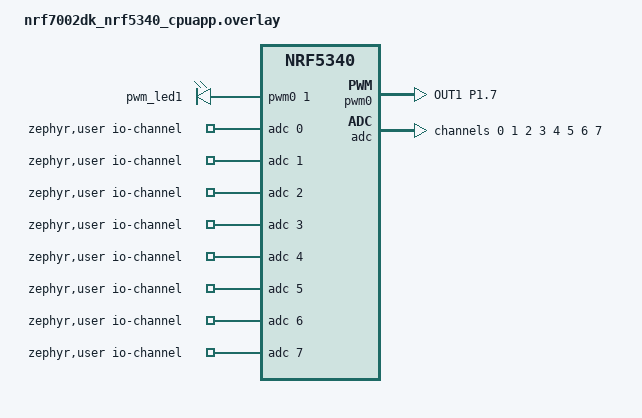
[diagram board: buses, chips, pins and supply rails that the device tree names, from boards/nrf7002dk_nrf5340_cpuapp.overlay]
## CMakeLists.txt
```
#
# Copyright (c) 2021 Nordic Semiconductor ASA
#
# SPDX-License-Identifier: LicenseRef-Nordic-5-Clause
#

cmake_minimum_required(VERSION 3.20.0)

# Set Kconfig root files that will be processed as a first Kconfig for used child images.
set(mcuboot_KCONFIG_ROOT "\\\${ZEPHYR_CONNECTEDHOMEIP_MODULE_DIR}/config/nrfconnect/chip-module/Kconfig.mcuboot.root")
set(multiprotocol_rpmsg_KCONFIG_ROOT "\\\${ZEPHYR_CONNECTEDHOMEIP_MODULE_DIR}/config/nrfconnect/chip-module/Kconfig.multiprotocol_rpmsg.root")
set(hci_rpmsg_KCONFIG_ROOT "\\\${ZEPHYR_CONNECTEDHOMEIP_MODULE_DIR}/config/nrfconnect/chip-module/Kconfig.hci_rpmsg.root")

# For prj.conf the CONF_FILE is empty. In other case extract the exact file name from the path string.
if(CONF_FILE)
    get_filename_component(CONFIG_FILE_NAME ${CONF_FILE} NAME)
endif()

if(NOT "${CONFIG_FILE_NAME}" STREQUAL "prj_no_dfu.conf")
    set(PM_STATIC_YML_FILE ${CMAKE_CURRENT_SOURCE_DIR}/configuration/${BOARD}/pm_static_dfu.yml)
endif()

find_package(Zephyr HINTS $ENV{ZEPHYR_BASE})

project(matter-light-bulb)

set(COMMON_ROOT ${ZEPHYR_NRF_MODULE_DIR}/samples/matter/common)
set(NLIO_ROOT ${ZEPHYR_CONNECTEDHOMEIP_MODULE_DIR}/third_party/nlio/repo)
include(${ZEPHYR_CONNECTEDHOMEIP_MODULE_DIR}/config/nrfconnect/app/enable-gnu-std.cmake)
include(${ZEPHYR_CONNECTEDHOMEIP_MODULE_DIR}/src/app/chip_data_model.cmake)

# NORDIC SDK APP START
target_include_directories(app PRIVATE
    src
    ${COMMON_ROOT}/src
    ${NLIO_ROOT}/include
    ${ZEPHYR_CONNECTEDHOMEIP_MODULE_DIR}/zzz_generated/app-common
)

target_sources(app PRIVATE
    src/app_task.cpp
    src/main.cpp
    src/adc_app.cpp
    src/zcl_callbacks.cpp
    src/zap-generated/IMClusterCommandHandler.cpp
    src/zap-generated/callback-stub.cpp
    ${COMMON_ROOT}/src/led_widget.cpp
    ${COMMON_ROOT}/src/pwm_device.cpp
)

if(CONFIG_CHIP_OTA_REQUESTOR OR CONFIG_MCUMGR_TRANSPORT_BT)
    target_sources(app PRIVATE ${COMMON_ROOT}/src/ota_util.cpp)
endif()

if(CONFIG_MCUMGR_TRANSPORT_BT)
    zephyr_library_link_libraries(MCUBOOT_BOOTUTIL)
    target_sources(app PRIVATE ${COMMON_ROOT}/src/dfu_over_smp.cpp)
endif()

chip_configure_data_model(app
    INCLUDE_SERVER
    BYPASS_IDL
    GEN_DIR src/zap-generated
    ZAP_FILE ${CMAKE_CURRENT_SOURCE_DIR}/src/light_bulb.zap
)
# NORDIC SDK APP END
```

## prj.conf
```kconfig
#
# Copyright (c) 2022 Nordic Semiconductor ASA
#
# SPDX-License-Identifier: LicenseRef-Nordic-5-Clause
#

# Enable CHIP
CONFIG_CHIP=y
CONFIG_CHIP_PROJECT_CONFIG="src/chip_project_config.h"
# 32773 == 0x8005 (example lighting-app)
CONFIG_CHIP_DEVICE_PRODUCT_ID=32773
CONFIG_STD_CPP14=y

# Enable CHIP pairing automatically on application start.
CONFIG_CHIP_ENABLE_PAIRING_AUTOSTART=y

# Add support for LEDs and buttons on Nordic development kits
CONFIG_DK_LIBRARY=y
CONFIG_PWM=y

# Bluetooth Low Energy configuration
CONFIG_BT_DEVICE_NAME="MatterLight"

# Other settings
CONFIG_THREAD_NAME=y
CONFIG_MPU_STACK_GUARD=y
CONFIG_RESET_ON_FATAL_ERROR=n
CONFIG_CHIP_LIB_SHELL=y

# Reduce application size
CONFIG_USE_SEGGER_RTT=n

# Enable Factory Data feature
CONFIG_CHIP_FACTORY_DATA=y
CONFIG_CHIP_FACTORY_DATA_BUILD=y

CONFIG_ADC=y
```

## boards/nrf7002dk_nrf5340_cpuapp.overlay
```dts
/*
 * Copyright (c) 2022 Nordic Semiconductor ASA
 *
 * SPDX-License-Identifier: LicenseRef-Nordic-5-Clause
 */

#include <zephyr/dt-bindings/ipc_service/static_vrings.h>

/ {
	chosen {
		nordic,pm-ext-flash = &mx25r64;
	};

	/*
	* By default, PWM module is only configured for led0 (LED1 on the board).
	* The light bulb app, however, uses LED2 to show the state of the lighting,
	* including its brightness level.
	*/
	aliases {
		pwm-led1 = &pwm_led1;
	};

	pwmleds {
		compatible = "pwm-leds";
		pwm_led1: pwm_led_1 {
			pwms = < &pwm0 1 PWM_MSEC(20) PWM_POLARITY_NORMAL>;
		};
	};
};

/* Set IPC thread priority to the highest value to not collide with other threads. */
&ipc0 {
    zephyr,priority = <0 PRIO_COOP>;
};

&pwm0 {
	pinctrl-0 = <&pwm0_default_alt>;
	pinctrl-1 = <&pwm0_sleep_alt>;
	pinctrl-names = "default", "sleep";
};

&pinctrl {
	pwm0_default_alt: pwm0_default_alt {
		group1 {
			psels = <NRF_PSEL(PWM_OUT1, 1, 7)>;
			nordic,invert;
		};
	};

	pwm0_sleep_alt: pwm0_sleep_alt {
		group1 {
			psels = <NRF_PSEL(PWM_OUT1, 1, 7)>;
			low-power-enable;
		};
	};

};
/*
USER OVERLAY
*/

 / {
	zephyr,user {
		io-channels = <&adc 0>, <&adc 1>, <&adc 2>, <&adc 3>, <&adc 4>, <&adc 5>, <&adc 6>, <&adc 7>;
	};
};

&adc {
	#address-cells = <1>;
	#size-cells = <0>;

	channel@0 {
		reg = <0>;
		zephyr,gain = "ADC_GAIN_1_6";
		zephyr,reference = "ADC_REF_INTERNAL";
		zephyr,acquisition-time = <ADC_ACQ_TIME_DEFAULT>;
		zephyr,input-positive = <NRF_SAADC_AIN0>;
		zephyr,resolution = <12>;
	};

	channel@1 {
		reg = <1>;
		zephyr,gain = "ADC_GAIN_1_6";
		zephyr,reference = "ADC_REF_INTERNAL";
		zephyr,acquisition-time = <ADC_ACQ_TIME_DEFAULT>;
		zephyr,input-positive = <NRF_SAADC_AIN1>;
		zephyr,resolution = <12>;
		zephyr,oversampling = <8>;
	};

    channel@2 {
		reg = <2>;
		zephyr,gain = "ADC_GAIN_1_6";
		zephyr,reference = "ADC_REF_INTERNAL";
		zephyr,acquisition-time = <ADC_ACQ_TIME_DEFAULT>;
		zephyr,input-positive = <NRF_SAADC_AIN2>;
		zephyr,resolution = <12>;
		zephyr,oversampling = <8>;
	};

    channel@3 {
		reg = <3>;
		zephyr,gain = "ADC_GAIN_1_6";
		zephyr,reference = "ADC_REF_INTERNAL";
		zephyr,acquisition-time = <ADC_ACQ_TIME_DEFAULT>;
		zephyr,input-positive = <NRF_SAADC_AIN3>;
		zephyr,resolution = <12>;
		zephyr,oversampling = <8>;
	};

    channel@4 {
		reg = <4>;
		zephyr,gain = "ADC_GAIN_1_6";
		zephyr,reference = "ADC_REF_INTERNAL";
		zephyr,acquisition-time = <ADC_ACQ_TIME_DEFAULT>;
		zephyr,input-positive = <NRF_SAADC_AIN4>;
		zephyr,resolution = <12>;
		zephyr,oversampling = <8>;
	};

    channel@5 {
		reg = <5>;
		zephyr,gain = "ADC_GAIN_1_6";
		zephyr,reference = "ADC_REF_INTERNAL";
		zephyr,acquisition-time = <ADC_ACQ_TIME_DEFAULT>;
		zephyr,input-positive = <NRF_SAADC_AIN5>;
		zephyr,resolution = <12>;
		zephyr,oversampling = <8>;
	};

    channel@6 {
		reg = <6>;
		zephyr,gain = "ADC_GAIN_1_6";
		zephyr,reference = "ADC_REF_INTERNAL";
		zephyr,acquisition-time = <ADC_ACQ_TIME_DEFAULT>;
		zephyr,input-positive = <NRF_SAADC_AIN6>;
		zephyr,resolution = <12>;
		zephyr,oversampling = <8>;
	};

    channel@7 {
		reg = <7>;
		zephyr,gain = "ADC_GAIN_1_6";
		zephyr,reference = "ADC_REF_INTERNAL";
		zephyr,acquisition-time = <ADC_ACQ_TIME_DEFAULT>;
		zephyr,input-positive = <NRF_SAADC_VDD>;
		zephyr,resolution = <12>;
		zephyr,oversampling = <8>;
	};
};

/* */
```

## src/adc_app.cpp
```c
/*

 */

#include "adc_app.h"
#include <zephyr/kernel.h>
#include <zephyr/logging/log.h>
#include <lib/support/CodeUtils.h>

/*
CUSTOM OVERLAY POINTER
*/
#if !DT_NODE_EXISTS(DT_PATH(zephyr_user)) || \
	!DT_NODE_HAS_PROP(DT_PATH(zephyr_user), io_channels)
#error "No suitable devicetree overlay specified"
#endif

#define DT_SPEC_AND_COMMA(node_id, prop, idx) \
	ADC_DT_SPEC_GET_BY_IDX(node_id, idx),

uint16_t buf;
/* Data of ADC io-channels specified in devicetree. */
static const struct adc_dt_spec adc_channels[] = {
	DT_FOREACH_PROP_ELEM(DT_PATH(zephyr_user), io_channels,
			     DT_SPEC_AND_COMMA)};

struct adc_sequence sequence = {
		.buffer = &buf,
		/* buffer size in bytes, not number of samples */
		.buffer_size = sizeof(buf),
	};

void AdcApp::AdcTest()
{
	int err;
	uint32_t count = 0;

	/* Configure channels individually prior to sampling. */
	for (size_t i = 0U; i < ARRAY_SIZE(adc_channels); i++) {
		if (!adc_is_ready_dt(&adc_channels[i])) {
			printk("ADC controller device %s not ready\n", adc_channels[i].dev->name);
		}

		err = adc_channel_setup_dt(&adc_channels[i]);
		if (err < 0) {
			printk("Could not setup channel #%d (%d)\n", i, err);
		}
	}

	printk("ADC reading[%u]:\n", count++);

		for (size_t i = 0U; i < ARRAY_SIZE(adc_channels); i++) {
			int32_t val_mv;
			printk("- %s, channel %d: ", adc_channels[i].dev->name, adc_channels[i].channel_id);

			(void)adc_sequence_init_dt(&adc_channels[i], &sequence);

			err = adc_read(adc_channels[i].dev, &sequence);
			if (err < 0) {
				printk("Could not read (%d)\n", err);
			}

			val_mv = (int32_t)buf;
			printk("%"PRId32, val_mv);

			err = adc_raw_to_millivolts_dt(&adc_channels[i], &val_mv);
			/* conversion to mV may not be supported, skip if not */
			if (err < 0) {
				printk(" (value in mV not available)\n");
			} else {
				printk(" = %"PRId32" mV\n", val_mv);
			}
		}

		k_sleep(K_MSEC(1000));
}

// Initialize sensor
void AdcApp::SoilSensorInit(uint8_t channel)
{
	int err;

	printk("Initialize ADC Soil sensor\n");
	if (!adc_is_ready_dt(&adc_channels[channel])) {
		printk("ADC controller device %s not ready\n", adc_channels[channel].dev->name);
	}

	err = adc_channel_setup_dt(&adc_channels[channel]);
	if (err < 0) {
		printk("Could not setup channel #%d (%d)\n", channel, err);
	}

	(void)adc_sequence_init_dt(&adc_channels[channel], &sequence);

	k_sleep(K_MSEC(100));
}


// Read sensor data
uint8_t AdcApp::ReadSoilSensor(uint8_t channel)
{
	uint8_t sensor_val;
	int32_t val_mv;
	float temp_val_mv;
	int err;

	printk("Read Soil Sensor Value\n");
	// Get ADC Data channel 0
	err = adc_read(adc_channels[channel].dev, &sequence);
	if (err < 0) {
		printk("Could not read (%d)\n", err);
	}

	val_mv = (int32_t)buf;
	err = adc_raw_to_millivolts_dt(&adc_channels[channel], &val_mv);
			/* conversion to mV may not be supported, skip if not */
	if (err < 0) {
		printk(" (value in mV not available)\n");
	} else {
		printk(" ADC Val = %"PRId32" mV\n", val_mv);
	}

	// convert 
	temp_val_mv = (float(val_mv)/1807) ;
	sensor_val = uint8_t (temp_val_mv * 100);
	printk("float temp_val (%f)\n", temp_val_mv);
	printk("sensor_val (%d)\n", sensor_val);

	k_sleep(K_MSEC(100));

	return sensor_val;
}

/* EOF*/
```

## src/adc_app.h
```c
/*
 * Copyright (c) 2021 Nordic Semiconductor ASA
 *
 * SPDX-License-Identifier: LicenseRef-Nordic-5-Clause
 */

#pragma once
/*
USER INCLUDE
*/
#include <inttypes.h>
#include <stddef.h>
#include <stdint.h>

#include <zephyr/device.h>
#include <zephyr/devicetree.h>
#include <zephyr/drivers/adc.h>
#include <zephyr/kernel.h>
#include <zephyr/sys/printk.h>
#include <zephyr/sys/util.h>
#include <cstdint>


class AdcApp {
public:

	void AdcTest();
	void SoilSensorInit(uint8_t channel);
	uint8_t ReadSoilSensor(uint8_t channel);
};
```

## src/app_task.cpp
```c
/*
 * Copyright (c) 2021 Nordic Semiconductor ASA
 *
 * SPDX-License-Identifier: LicenseRef-Nordic-5-Clause
 */

#include "app_task.h"

#include "app_config.h"
#include "fabric_table_delegate.h"
#include "led_util.h"
#include "pwm_device.h"

#include <platform/CHIPDeviceLayer.h>

#include <app-common/zap-generated/attributes/Accessors.h>
#include <app/DeferredAttributePersistenceProvider.h>
#include <app/clusters/identify-server/identify-server.h>
#include <app/server/OnboardingCodesUtil.h>
#include <app/server/Server.h>
#include <credentials/DeviceAttestationCredsProvider.h>
#include <credentials/examples/DeviceAttestationCredsExample.h>
#include <lib/support/CHIPMem.h>
#include <lib/support/CodeUtils.h>
#include <system/SystemError.h>

#ifdef CONFIG_CHIP_WIFI
#include <app/clusters/network-commissioning/network-commissioning.h>
#include <platform/nrfconnect/wifi/NrfWiFiDriver.h>
#endif

#ifdef CONFIG_CHIP_OTA_REQUESTOR
#include "ota_util.h"
#endif

#include <dk_buttons_and_leds.h>
#include <zephyr/kernel.h>
#include <zephyr/logging/log.h>

/*
USER DEFINE
*/
#include "adc_app.h"
/*
*/
LOG_MODULE_DECLARE(app, CONFIG_CHIP_APP_LOG_LEVEL);

using namespace ::chip;
using namespace ::chip::app;
using namespace ::chip::Credentials;
using namespace ::chip::DeviceLayer;

namespace
{
constexpr uint32_t kFactoryResetTriggerTimeout = 3000;
constexpr uint32_t kFactoryResetCancelWindowTimeout = 3000;
constexpr size_t kAppEventQueueSize = 10;
constexpr EndpointId kLightEndpointId = 1;
/*USER CUSTOM*/
#define SENSING_STACK_SIZE 1024
#define SENSING_PRIORITY 5
K_THREAD_STACK_DEFINE(my_stack_area, SENSING_STACK_SIZE);
struct k_thread my_thread_data;
uint8_t SoilSensorVal;
/**/
constexpr uint8_t kDefaultMinLevel = 0;
constexpr uint8_t kDefaultMaxLevel = 254;
#if NUMBER_OF_BUTTONS == 2
constexpr uint32_t kAdvertisingTriggerTimeout = 3000;
#endif
constexpr uint16_t kTriggerEffectTimeout = 5000;
constexpr uint16_t kTriggerEffectFinishTimeout = 1000;

K_MSGQ_DEFINE(sAppEventQueue, sizeof(AppEvent), kAppEventQueueSize, alignof(AppEvent));
k_timer sFunctionTimer;
k_timer sTriggerEffectTimer;

Identify sIdentify = { kLightEndpointId, AppTask::IdentifyStartHandler, AppTask::IdentifyStopHandler,
		       EMBER_ZCL_IDENTIFY_IDENTIFY_TYPE_VISIBLE_LED, AppTask::TriggerIdentifyEffectHandler };

LEDWidget sStatusLED;
LEDWidget sIdentifyLED;
#if NUMBER_OF_LEDS == 4
FactoryResetLEDsWrapper<2> sFactoryResetLEDs{ { FACTORY_RESET_SIGNAL_LED, FACTORY_RESET_SIGNAL_LED1 } };
#endif

bool sIsNetworkProvisioned = false;
bool sIsNetworkEnabled = false;
bool sHaveBLEConnections = false;
bool sIsTriggerEffectActive = false;

const struct pwm_dt_spec sLightPwmDevice = PWM_DT_SPEC_GET(DT_ALIAS(pwm_led1));

/*
USER INSTANCE
*/
AdcApp Adcapp;

/*
*/

// Define a custom attribute persister which makes actual write of the CurrentLevel attribute value
// to the non-volatile storage only when it has remained constant for 5 seconds. This is to reduce
// the flash wearout when the attribute changes frequently as a result of MoveToLevel command.
// DeferredAttribute object describes a deferred attribute, but also holds a buffer with a value to
// be written, so it must live so long as the DeferredAttributePersistenceProvider object.
DeferredAttribute gCurrentLevelPersister(ConcreteAttributePath(kLightEndpointId, Clusters::LevelControl::Id,
							       Clusters::LevelControl::Attributes::CurrentLevel::Id));
DeferredAttributePersistenceProvider gDeferredAttributePersister(Server::GetInstance().GetDefaultAttributePersister(),
								 Span<DeferredAttribute>(&gCurrentLevelPersister, 1),
								 System::Clock::Milliseconds32(5000));

} /* namespace */

namespace LedConsts
{
constexpr uint32_t kBlinkRate_ms{ 500 };
constexpr uint32_t kIdentifyBlinkRate_ms{ 500 };

namespace StatusLed
{
	namespace Unprovisioned
	{
		constexpr uint32_t kOn_ms{ 100 };
		constexpr uint32_t kOff_ms{ kOn_ms };
	} /* namespace Unprovisioned */
	namespace Provisioned
	{
		constexpr uint32_t kOn_ms{ 50 };
		constexpr uint32_t kOff_ms{ 950 };
	} /* namespace Provisioned */

} /* namespace StatusLed */
} /* namespace LedConsts */

#ifdef CONFIG_CHIP_WIFI
app::Clusters::NetworkCommissioning::Instance
	sWiFiCommissioningInstance(0, &(NetworkCommissioning::NrfWiFiDriver::Instance()));
#endif

CHIP_ERROR AppTask::Init()
{
	/* Initialize CHIP stack */
	LOG_INF("Init CHIP stack");

	CHIP_ERROR err = chip::Platform::MemoryInit();
	if (err != CHIP_NO_ERROR) {
		LOG_ERR("Platform::MemoryInit() failed");
		return err;
	}

	err = PlatformMgr().InitChipStack();
	if (err != CHIP_NO_ERROR) {
		LOG_ERR("PlatformMgr().InitChipStack() failed");
		return err;
	}

#if defined(CONFIG_NET_L2_OPENTHREAD)
	err = ThreadStackMgr().InitThreadStack();
	if (err != CHIP_NO_ERROR) {
		LOG_ERR("ThreadStackMgr().InitThreadStack() failed: %s", ErrorStr(err));
		return err;
	}

	err = ConnectivityMgr().SetThreadDeviceType(ConnectivityManager::kThreadDeviceType_Router);

	if (err != CHIP_NO_ERROR) {
		LOG_ERR("ThreadStackMgr().InitThreadStack() failed: %s", ErrorStr(err));
		return err;
	}

#elif defined(CONFIG_CHIP_WIFI)
	sWiFiCommissioningInstance.Init();
#else
	return CHIP_ERROR_INTERNAL;
#endif /* CONFIG_NET_L2_OPENTHREAD */

	/* Initialize LEDs */
	LEDWidget::InitGpio();
	LEDWidget::SetStateUpdateCallback(LEDStateUpdateHandler);

	sStatusLED.Init(SYSTEM_STATE_LED);
	sIdentifyLED.Init(LIGHTING_STATE_LED);
	sIdentifyLED.Set(false);

	UpdateStatusLED();

	/* Initialize buttons */
	int ret = dk_buttons_init(ButtonEventHandler);
	if (ret) {
		LOG_ERR("dk_buttons_init() failed");
		return chip::System::MapErrorZephyr(ret);
	}

	/* Initialize function timer */
	k_timer_init(&sFunctionTimer, &AppTask::FunctionTimerTimeoutCallback, nullptr);
	k_timer_user_data_set(&sFunctionTimer, this);

	/* Initialize trigger effect timer */
	k_timer_init(&sTriggerEffectTimer, &AppTask::TriggerEffectTimerTimeoutCallback, nullptr);

	/* Initialize lighting device (PWM) */
	uint8_t minLightLevel = kDefaultMinLevel;
	Clusters::LevelControl::Attributes::MinLevel::Get(kLightEndpointId, &minLightLevel);

	uint8_t maxLightLevel = kDefaultMaxLevel;
	Clusters::LevelControl::Attributes::MaxLevel::Get(kLightEndpointId, &maxLightLevel);

	Adcapp.SoilSensorInit(0);
	Adcapp.ReadSoilSensor(0);

	ret = mPWMDevice.Init(&sLightPwmDevice, minLightLevel, maxLightLevel, maxLightLevel);
	if (ret != 0) {
		return chip::System::MapErrorZephyr(ret);
	}
	mPWMDevice.SetCallbacks(ActionInitiated, ActionCompleted);

#ifdef CONFIG_CHIP_OTA_REQUESTOR
	/* OTA image confirmation must be done before the factory data init. */
	OtaConfirmNewImage();
#endif

#ifdef CONFIG_MCUMGR_TRANSPORT_BT
	/* Initialize DFU over SMP */
	GetDFUOverSMP().Init();
	GetDFUOverSMP().ConfirmNewImage();
#endif

	/* Initialize CHIP server */
#if CONFIG_CHIP_FACTORY_DATA
	ReturnErrorOnFailure(mFactoryDataProvider.Init());
	SetDeviceInstanceInfoProvider(&mFactoryDataProvider);
	SetDeviceAttestationCredentialsProvider(&mFactoryDataProvider);
	SetCommissionableDataProvider(&mFactoryDataProvider);
#else
	SetDeviceInstanceInfoProvider(&DeviceInstanceInfoProviderMgrImpl());
	SetDeviceAttestationCredentialsProvider(Examples::GetExampleDACProvider());
#endif

	static CommonCaseDeviceServerInitParams initParams;
	(void)initParams.InitializeStaticResourcesBeforeServerInit();

	ReturnErrorOnFailure(chip::Server::GetInstance().Init(initParams));
	app::SetAttributePersistenceProvider(&gDeferredAttributePersister);
	ConfigurationMgr().LogDeviceConfig();
	PrintOnboardingCodes(chip::RendezvousInformationFlags(chip::RendezvousInformationFlag::kBLE));
	AppFabricTableDelegate::Init();

	/*
	 * Add CHIP event handler and start CHIP thread.
	 * Note that all the initialization code should happen prior to this point to avoid data races
	 * between the main and the CHIP threads.
	 */
	PlatformMgr().AddEventHandler(ChipEventHandler, 0);

	err = PlatformMgr().StartEventLoopTask();
	if (err != CHIP_NO_ERROR) {
		LOG_ERR("PlatformMgr().StartEventLoopTask() failed");
		return err;
	}

	// run thread soil sensor
	k_tid_t my_tid = k_thread_create(&my_thread_data, my_stack_area,
                                 K_THREAD_STACK_SIZEOF(my_stack_area),
                                 SoilSensorReadApp,
                                 NULL, NULL, NULL,
                                 SENSING_PRIORITY, 0, K_NO_WAIT);

	
	return CHIP_NO_ERROR;
}

CHIP_ERROR AppTask::StartApp()
{
	ReturnErrorOnFailure(Init());

	AppEvent event = {};

	while (true) {
		k_msgq_get(&sAppEventQueue, &event, K_FOREVER);
		DispatchEvent(event);
	}

	return CHIP_NO_ERROR;
}

void AppTask::IdentifyStartHandler(Identify *)
{
	AppEvent event;
	event.Type = AppEventType::IdentifyStart;
	event.Handler = [](const AppEvent &) {
		Instance().mPWMDevice.SuppressOutput();
		sIdentifyLED.Blink(LedConsts::kIdentifyBlinkRate_ms);
	};
	PostEvent(event);
}

void AppTask::IdentifyStopHandler(Identify *)
{
	AppEvent event;
	event.Type = AppEventType::IdentifyStop;
	event.Handler = [](const AppEvent &) {
		sIdentifyLED.Set(false);
		Instance().mPWMDevice.ApplyLevel();
	};
	PostEvent(event);
}

void AppTask::TriggerEffectTimerTimeoutCallback(k_timer *timer)
{
	LOG_INF("Identify effect completed");

	sIsTriggerEffectActive = false;

	sIdentifyLED.Set(false);
	Instance().mPWMDevice.ApplyLevel();
}

void AppTask::TriggerIdentifyEffectHandler(Identify *identify)
{
	switch (identify->mCurrentEffectIdentifier) {
	/* Just handle all effects in the same way. */
	case EMBER_ZCL_IDENTIFY_EFFECT_IDENTIFIER_BLINK:
	case EMBER_ZCL_IDENTIFY_EFFECT_IDENTIFIER_BREATHE:
	case EMBER_ZCL_IDENTIFY_EFFECT_IDENTIFIER_OKAY:
	case EMBER_ZCL_IDENTIFY_EFFECT_IDENTIFIER_CHANNEL_CHANGE:
		LOG_INF("Identify effect identifier changed to %d", identify->mCurrentEffectIdentifier);

		sIsTriggerEffectActive = false;

		k_timer_stop(&sTriggerEffectTimer);
		k_timer_start(&sTriggerEffectTimer, K_MSEC(kTriggerEffectTimeout), K_NO_WAIT);

		Instance().mPWMDevice.SuppressOutput();
		sIdentifyLED.Blink(LedConsts::kIdentifyBlinkRate_ms);

		break;
	case EMBER_ZCL_IDENTIFY_EFFECT_IDENTIFIER_FINISH_EFFECT:
		LOG_INF("Identify effect finish triggered");
		k_timer_stop(&sTriggerEffectTimer);
		k_timer_start(&sTriggerEffectTimer, K_MSEC(kTriggerEffectFinishTimeout), K_NO_WAIT);
		break;
	case EMBER_ZCL_IDENTIFY_EFFECT_IDENTIFIER_STOP_EFFECT:
		if (sIsTriggerEffectActive) {
			sIsTriggerEffectActive = false;

			k_timer_stop(&sTriggerEffectTimer);

			sIdentifyLED.Set(false);
			Instance().mPWMDevice.ApplyLevel();
		}
		break;
	default:
		LOG_ERR("Received invalid effect identifier.");
		break;
	}
}

#if NUMBER_OF_BUTTONS == 2
void AppTask::StartBLEAdvertisementAndLightActionEventHandler(const AppEvent &event)
{
	if (event.ButtonEvent.Action == static_cast<uint8_t>(AppEventType::ButtonPushed)) {
		Instance().StartTimer(kAdvertisingTriggerTimeout);
		Instance().mFunction = FunctionEvent::AdvertisingStart;
	} else {
		if (Instance().mFunction == FunctionEvent::AdvertisingStart && Instance().mFunctionTimerActive) {
			Instance().CancelTimer();
			Instance().mFunction = FunctionEvent::NoneSelected;

			AppEvent button_event;
			button_event.Type = AppEventType::Button;
			button_event.ButtonEvent.PinNo = BLE_ADVERTISEMENT_START_AND_LIGHTING_BUTTON;
			button_event.ButtonEvent.Action = static_cast<uint8_t>(AppEventType::ButtonReleased);
			button_event.Handler = LightingActionEventHandler;
			PostEvent(button_event);
		}
	}
}
#endif

void AppTask::LightingActionEventHandler(const AppEvent &event)
{
	PWMDevice::Action_t action = PWMDevice::INVALID_ACTION;
	int32_t actor = 0;

	if (event.Type == AppEventType::Lighting) {
		action = static_cast<PWMDevice::Action_t>(event.LightingEvent.Action);
		actor = event.LightingEvent.Actor;
	} else if (event.Type == AppEventType::Button) {
		action = Instance().mPWMDevice.IsTurnedOn() ? PWMDevice::OFF_ACTION : PWMDevice::ON_ACTION;
		actor = static_cast<int32_t>(AppEventType::Button);
	}

	if (action != PWMDevice::INVALID_ACTION && Instance().mPWMDevice.InitiateAction(action, actor, NULL)) {
		LOG_INF("Action is already in progress or active.");
	}
}

void AppTask::ButtonEventHandler(uint32_t buttonState, uint32_t hasChanged)
{
	AppEvent button_event;
	button_event.Type = AppEventType::Button;

#if NUMBER_OF_BUTTONS == 2
	if (BLE_ADVERTISEMENT_START_AND_LIGHTING_BUTTON_MASK & hasChanged) {
		button_event.ButtonEvent.PinNo = BLE_ADVERTISEMENT_START_AND_LIGHTING_BUTTON;
		button_event.ButtonEvent.Action =
			static_cast<uint8_t>((BLE_ADVERTISEMENT_START_AND_LIGHTING_BUTTON_MASK & buttonState) ?
						     AppEventType::ButtonPushed :
						     AppEventType::ButtonReleased);
		button_event.Handler = StartBLEAdvertisementAndLightActionEventHandler;
		PostEvent(button_event);
	}
#else
	if (LIGHTING_BUTTON_MASK & buttonState & hasChanged) {
		button_event.ButtonEvent.PinNo = LIGHTING_BUTTON;
		button_event.ButtonEvent.Action = static_cast<uint8_t>(AppEventType::ButtonPushed);
		button_event.Handler = LightingActionEventHandler;
		PostEvent(button_event);
	}

	if (BLE_ADVERTISEMENT_START_BUTTON_MASK & buttonState & hasChanged) {
		button_event.ButtonEvent.PinNo = BLE_ADVERTISEMENT_START_BUTTON;
		button_event.ButtonEvent.Action = static_cast<uint8_t>(AppEventType::ButtonPushed);
		button_event.Handler = StartBLEAdvertisementHandler;
		PostEvent(button_event);
	}
#endif

	if (FUNCTION_BUTTON_MASK & hasChanged) {
		button_event.ButtonEvent.PinNo = FUNCTION_BUTTON;
		button_event.ButtonEvent.Action =
			static_cast<uint8_t>((FUNCTION_BUTTON_MASK & buttonState) ? AppEventType::ButtonPushed :
										    AppEventType::ButtonReleased);
		button_event.Handler = FunctionHandler;
		PostEvent(button_event);
	}
}

void AppTask::FunctionTimerTimeoutCallback(k_timer *timer)
{
	if (!timer) {
		return;
	}

	Instance().mFunctionTimerActive = false;
	AppEvent event;
	event.Type = AppEventType::Timer;
	event.TimerEvent.Context = k_timer_user_data_get(timer);
	event.Handler = FunctionTimerEventHandler;
	PostEvent(event);
}

void AppTask::FunctionTimerEventHandler(const AppEvent &event)
{
	if (event.Type != AppEventType::Timer) {
		return;
	}

	/* If we reached here, the button was held past kFactoryResetTriggerTimeout, initiate factory reset */
	if (Instance().mFunction == FunctionEvent::SoftwareUpdate) {
		LOG_INF("Factory Reset Triggered. Release button within %ums to cancel.", kFactoryResetTriggerTimeout);

		/* Start timer for kFactoryResetCancelWindowTimeout to allow user to cancel, if required. */
		Instance().StartTimer(kFactoryResetCancelWindowTimeout);
		Instance().mFunction = FunctionEvent::FactoryReset;

		/* Turn off all LEDs before starting blink to make sure blink is co-ordinated. */
		sStatusLED.Set(false);
#if NUMBER_OF_LEDS == 4
		sFactoryResetLEDs.Set(false);
#endif

		sStatusLED.Blink(LedConsts::kBlinkRate_ms);
#if NUMBER_OF_LEDS == 4
		sFactoryResetLEDs.Blink(LedConsts::kBlinkRate_ms);
#endif
	} else if (Instance().mFunction == FunctionEvent::FactoryReset) {
		/* Actually trigger Factory Reset */
		Instance().mFunction = FunctionEvent::NoneSelected;
		chip::Server::GetInstance().ScheduleFactoryReset();
	} else if (Instance().mFunction == FunctionEvent::AdvertisingStart) {
		/* The button was held past kAdvertisingTriggerTimeout, start BLE advertisement
		   if we have 2 buttons UI*/
#if NUMBER_OF_BUTTONS == 2
		StartBLEAdvertisementHandler(event);
		Instance().mFunction = FunctionEvent::NoneSelected;
#endif
	}

}

void AppTask::FunctionHandler(const AppEvent &event)
{
	if (event.ButtonEvent.PinNo != FUNCTION_BUTTON)
		return;

	/* To trigger software update: press the FUNCTION_BUTTON button briefly (< kFactoryResetTriggerTimeout)
	 * To initiate factory reset: press the FUNCTION_BUTTON for kFactoryResetTriggerTimeout +
	 * kFactoryResetCancelWindowTimeout All LEDs start blinking after kFactoryResetTriggerTimeout to signal factory
	 * reset has been initiated. To cancel factory reset: release the FUNCTION_BUTTON once all LEDs start blinking
	 * within the kFactoryResetCancelWindowTimeout.
	 */
	if (event.ButtonEvent.Action == static_cast<uint8_t>(AppEventType::ButtonPushed)) {
		if (!Instance().mFunctionTimerActive && Instance().mFunction == FunctionEvent::NoneSelected) {
			Instance().StartTimer(kFactoryResetTriggerTimeout);
			Instance().mFunction = FunctionEvent::SoftwareUpdate;
		}
	} else {
		/* If the button was released before factory reset got initiated, trigger a software update. */
		if (Instance().mFunctionTimerActive && Instance().mFunction == FunctionEvent::SoftwareUpdate) {
			Instance().CancelTimer();
			Instance().mFunction = FunctionEvent::NoneSelected;

#ifdef CONFIG_MCUMGR_TRANSPORT_BT
			GetDFUOverSMP().StartServer();
#else
			LOG_INF("Software update is disabled");
#endif
		} else if (Instance().mFunctionTimerActive && Instance().mFunction == FunctionEvent::FactoryReset) {
#if NUMBER_OF_LEDS == 4
			sFactoryResetLEDs.Set(false);
#endif
			UpdateStatusLED();
			Instance().CancelTimer();
			Instance().mFunction = FunctionEvent::NoneSelected;
			LOG_INF("Factory Reset has been Canceled");
		}
	}
}

void AppTask::StartBLEAdvertisementHandler(const AppEvent &)
{
	if (Server::GetInstance().GetFabricTable().FabricCount() != 0) {
		LOG_INF("Matter service BLE advertising not started - device is already commissioned");
		return;
	}

	if (ConnectivityMgr().IsBLEAdvertisingEnabled()) {
		LOG_INF("BLE advertising is already enabled");
		return;
	}

	if (Server::GetInstance().GetCommissioningWindowManager().OpenBasicCommissioningWindow() != CHIP_NO_ERROR) {
		LOG_ERR("OpenBasicCommissioningWindow() failed");
	}
}

void AppTask::UpdateLedStateEventHandler(const AppEvent &event)
{
	if (event.Type == AppEventType::UpdateLedState) {
		event.UpdateLedStateEvent.LedWidget->UpdateState();
	}
}

void AppTask::LEDStateUpdateHandler(LEDWidget &ledWidget)
{
	AppEvent event;
	event.Type = AppEventType::UpdateLedState;
	event.Handler = UpdateLedStateEventHandler;
	event.UpdateLedStateEvent.LedWidget = &ledWidget;
	PostEvent(event);
}

void AppTask::UpdateStatusLED()
{
	/* Update the status LED.
	 *
	 * If IPv6 network and service provisioned, keep the LED On constantly.
	 *
	 * If the system has ble connection(s) uptill the stage above, THEN blink the LED at an even
	 * rate of 100ms.
	 *
	 * Otherwise, blink the LED for a very short time. */
	if (sIsNetworkProvisioned && sIsNetworkEnabled) {
		sStatusLED.Set(true);
	} else if (sHaveBLEConnections) {
		sStatusLED.Blink(LedConsts::StatusLed::Unprovisioned::kOn_ms,
				 LedConsts::StatusLed::Unprovisioned::kOff_ms);
	} else {
		sStatusLED.Blink(LedConsts::StatusLed::Provisioned::kOn_ms, LedConsts::StatusLed::Provisioned::kOff_ms);
	}
}

void AppTask::ChipEventHandler(const ChipDeviceEvent *event, intptr_t /* arg */)
{
	switch (event->Type) {
	case DeviceEventType::kCHIPoBLEAdvertisingChange:
#ifdef CONFIG_CHIP_NFC_COMMISSIONING
		if (event->CHIPoBLEAdvertisingChange.Result == kActivity_Started) {
			if (NFCMgr().IsTagEmulationStarted()) {
				LOG_INF("NFC Tag emulation is already started");
			} else {
				ShareQRCodeOverNFC(
					chip::RendezvousInformationFlags(chip::RendezvousInformationFlag::kBLE));
			}
		} else if (event->CHIPoBLEAdvertisingChange.Result == kActivity_Stopped) {
			NFCMgr().StopTagEmulation();
		}
#endif
		sHaveBLEConnections = ConnectivityMgr().NumBLEConnections() != 0;
		UpdateStatusLED();
		break;
#if defined(CONFIG_NET_L2_OPENTHREAD)
	case DeviceEventType::kDnssdInitialized:
#if CONFIG_CHIP_OTA_REQUESTOR
		InitBasicOTARequestor();
#endif /* CONFIG_CHIP_OTA_REQUESTOR */
		break;
	case DeviceEventType::kThreadStateChange:
		sIsNetworkProvisioned = ConnectivityMgr().IsThreadProvisioned();
		sIsNetworkEnabled = ConnectivityMgr().IsThreadEnabled();
#elif defined(CONFIG_CHIP_WIFI)
	case DeviceEventType::kWiFiConnectivityChange:
		sIsNetworkProvisioned = ConnectivityMgr().IsWiFiStationProvisioned();
		sIsNetworkEnabled = ConnectivityMgr().IsWiFiStationEnabled();
#if CONFIG_CHIP_OTA_REQUESTOR
		if (event->WiFiConnectivityChange.Result == kConnectivity_Established) {
			InitBasicOTARequestor();
		}
#endif /* CONFIG_CHIP_OTA_REQUESTOR */
#endif
		UpdateStatusLED();
		break;
	default:
		break;
	}
}

void AppTask::CancelTimer()
{
	k_timer_stop(&sFunctionTimer);
	mFunctionTimerActive = false;
}

void AppTask::StartTimer(uint32_t timeoutInMs)
{
	k_timer_start(&sFunctionTimer, K_MSEC(timeoutInMs), K_NO_WAIT);
	mFunctionTimerActive = true;
}

void AppTask::ActionInitiated(PWMDevice::Action_t action, int32_t actor)
{
	if (action == PWMDevice::ON_ACTION) {
		LOG_INF("Turn On Action has been initiated");
	} else if (action == PWMDevice::OFF_ACTION) {
		LOG_INF("Turn Off Action has been initiated");
	} else if (action == PWMDevice::LEVEL_ACTION) {
		LOG_INF("Level Action has been initiated");
	}
}

void AppTask::ActionCompleted(PWMDevice::Action_t action, int32_t actor)
{
	if (action == PWMDevice::ON_ACTION) {
		LOG_INF("Turn On Action has been completed");
	} else if (action == PWMDevice::OFF_ACTION) {
		LOG_INF("Turn Off Action has been completed");
	} else if (action == PWMDevice::LEVEL_ACTION) {
		LOG_INF("Level Action has been completed");
	}

	if (actor == static_cast<int32_t>(AppEventType::Button)) {
		Instance().UpdateClusterState();
		k_sleep(K_MSEC(500));
		//Adcapp.AdcTest(); // uncomment this line to test all ADC Channels
	}
}

void AppTask::PostEvent(const AppEvent &event)
{
	if (k_msgq_put(&sAppEventQueue, &event, K_NO_WAIT) != 0) {
		LOG_INF("Failed to post event to app task event queue");
	}
}

void AppTask::DispatchEvent(const AppEvent &event)
{
	if (event.Handler) {
		event.Handler(event);
	} else {
		LOG_INF("Event received with no handler. Dropping event.");
	}
}


void AppTask::SoilSensorReadApp(void *, void *, void *)
{
	while (1){
		SoilSensorVal = Adcapp.ReadSoilSensor(0);
		LOG_INF("Soil sensor val: %d \n", SoilSensorVal);
		/* Custom: write ADC/Soilmeasurement */
		EmberAfStatus status = Clusters::LevelControl::Attributes::CurrentLevel::Set(kLightEndpointId, SoilSensorVal);
		if (status != EMBER_ZCL_STATUS_SUCCESS) {
			LOG_ERR("Updating level cluster failed: %x", status);
		}
		k_sleep(K_MSEC(10000));
	}
}


void AppTask::UpdateClusterState()
{
	SystemLayer().ScheduleLambda([this] {
		/* write the new on/off value */
		EmberAfStatus status =	Clusters::OnOff::Attributes::OnOff::Set(kLightEndpointId, mPWMDevice.IsTurnedOn());
		if (status != EMBER_ZCL_STATUS_SUCCESS) {
			LOG_ERR("Updating on/off cluster failed: %x", status);
		}
	});
}

/* EOF*/
```

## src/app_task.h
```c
/*
 * Copyright (c) 2021 Nordic Semiconductor ASA
 *
 * SPDX-License-Identifier: LicenseRef-Nordic-5-Clause
 */

#pragma once

#include "app_event.h"
#include "led_widget.h"
#include "pwm_device.h"

#include <platform/CHIPDeviceLayer.h>

#if CONFIG_CHIP_FACTORY_DATA
#include <platform/nrfconnect/FactoryDataProvider.h>
#else
#include <platform/nrfconnect/DeviceInstanceInfoProviderImpl.h>
#endif

#ifdef CONFIG_MCUMGR_TRANSPORT_BT
#include "dfu_over_smp.h"
#endif

struct k_timer;
struct Identify;

class AppTask {
public:

	static AppTask &Instance()
	{
		static AppTask sAppTask;
		return sAppTask;
	};

	CHIP_ERROR StartApp();

	void UpdateClusterState();
	PWMDevice &GetPWMDevice() { return mPWMDevice; }

	static void IdentifyStartHandler(Identify *);
	static void IdentifyStopHandler(Identify *);
	static void TriggerIdentifyEffectHandler(Identify *);
	static void TriggerEffectTimerTimeoutCallback(k_timer *timer);

private:
	CHIP_ERROR Init();

	void CancelTimer();
	void StartTimer(uint32_t timeoutInMs);

	static void PostEvent(const AppEvent &event);
	static void DispatchEvent(const AppEvent &event);
	static void FunctionTimerEventHandler(const AppEvent &event);
	static void LightingActionEventHandler(const AppEvent &event);
	static void StartBLEAdvertisementHandler(const AppEvent &event);
	static void UpdateLedStateEventHandler(const AppEvent &event);

	static void ChipEventHandler(const chip::DeviceLayer::ChipDeviceEvent *event, intptr_t arg);
	static void ButtonEventHandler(uint32_t buttonState, uint32_t hasChanged);
	static void FunctionTimerTimeoutCallback(k_timer *timer);

	static void ActionInitiated(PWMDevice::Action_t action, int32_t actor);
	static void ActionCompleted(PWMDevice::Action_t action, int32_t actor);
	static void UpdateStatusLED();
	static void LEDStateUpdateHandler(LEDWidget &ledWidget);
	static void FunctionHandler(const AppEvent &event);
	static void StartBLEAdvertisementAndLightActionEventHandler(const AppEvent &event);

	static void SoilSensorReadApp(void *, void *, void *);

	FunctionEvent mFunction = FunctionEvent::NoneSelected;
	bool mFunctionTimerActive = false;
	PWMDevice mPWMDevice;
#if CONFIG_CHIP_FACTORY_DATA
	chip::DeviceLayer::FactoryDataProvider<chip::DeviceLayer::InternalFlashFactoryData> mFactoryDataProvider;
#endif
};
```
